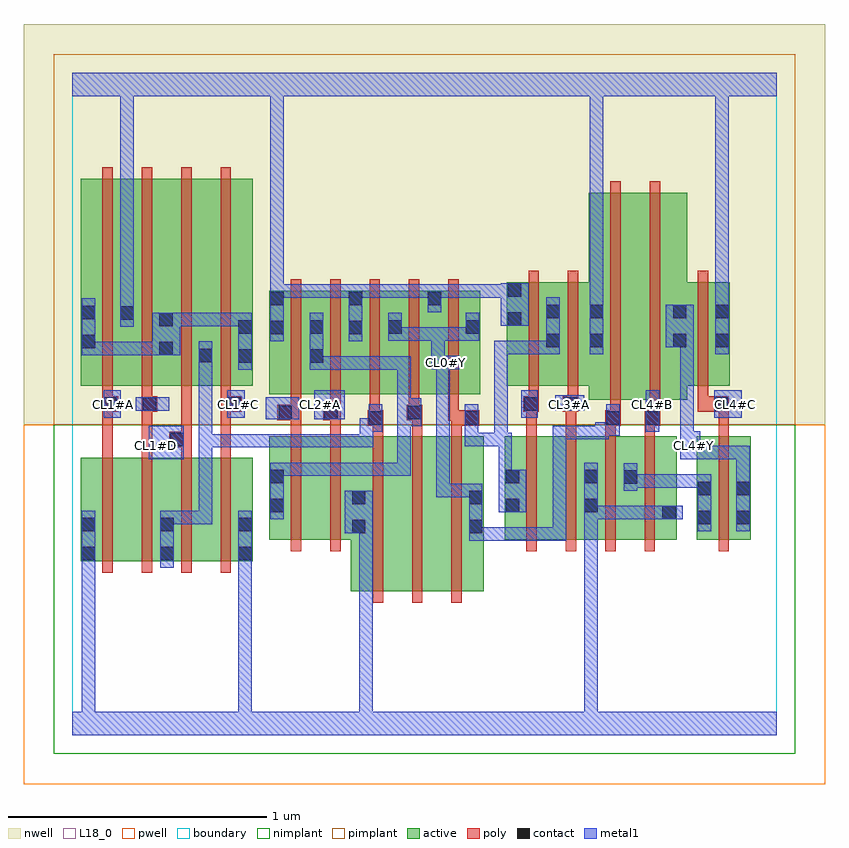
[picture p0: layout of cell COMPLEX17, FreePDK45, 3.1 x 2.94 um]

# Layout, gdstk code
import gdstk
lib = gdstk.Library(unit=1e-6, precision=1e-09)
def R(c, l, rs):  # rectangles x0, y0, x1, y1
    for r in rs: c.add(gdstk.rectangle(r[:2], r[2:], *l))
def A(c, l, x, y, w, h, nx, ny, dx, dy):  # array of equal rectangles
    R(c, l, [(x+i*dx, y+j*dy, x+i*dx+w, y+j*dy+h) for i in range(nx) for j in range(ny)])
active = (1, 0)
pwell = (2, 0)
nwell = (3, 0)
nimplant = (4, 0)
pimplant = (5, 0)
poly = (9, 0)
contact = (10, 0)
metal1 = (11, 0)
L18_0 = (18, 0)
boundary = (235, 0)

complex17 = lib.new_cell('COMPLEX17')
A(complex17, active, 0.76, 1.318, 0.212, 0.4, 4, 1, 0.152, 0)
A(complex17, active, 0.18, 1.35, 0.212, 0.8, 3, 1, 0.152, 0)
R(complex17, active, [(1.076,0.556,1.136,1.156), (1.076,0.556,1.256,1.156), (1.256,0.556,1.408,1.156), (1.408,0.556,1.588,1.156), (1.528,0.556,1.588,1.156), (0.032,0.672,0.092,1.072), (0.032,0.672,0.212,1.072), (0.212,0.672,0.396,1.072), (0.336,0.672,0.396,1.072), (0.336,0.672,0.516,1.072), (0.516,0.672,0.696,1.072), (0.636,0.672,0.696,1.072), (0.76,0.756,0.82,1.156), (0.76,0.756,0.94,1.156), (0.94,0.756,1.136,1.156), (1.67,0.756,1.73,1.156), (1.67,0.756,1.85,1.156), (1.85,0.756,2.034,1.156), (1.974,0.756,2.186,1.156), (1.974,0.756,2.034,1.03), (2.126,0.756,2.334,1.156), (2.126,0.756,2.186,1.028), (2.274,0.756,2.334,1.156), (2.412,0.756,2.472,1.156), (2.412,0.756,2.62,1.156), (2.56,0.756,2.62,1.156), (1.994,1.296,2.174,2.096), (2.174,1.296,2.376,2.096), (0.76,1.318,0.82,1.718), (1.368,1.318,1.576,1.718), (1.516,1.318,1.576,1.644), (0.032,1.35,0.092,2.044), (0.032,1.35,0.24,2.15), (0.484,1.35,0.544,2.044), (0.636,1.35,0.696,2.044), (1.678,1.35,1.738,1.75), (1.678,1.35,1.886,1.75), (1.826,1.35,1.886,1.75), (1.826,1.35,2.054,1.75), (2.316,1.35,2.54,1.75), (2.316,1.35,2.376,1.794), (2.48,1.35,2.54,1.75), (0.332,1.36,0.392,2.044), (1.994,1.388,2.054,1.716), (0.912,1.436,0.972,1.644), (0.18,1.47,0.24,2.15), (1.064,1.498,1.124,1.718), (1.368,1.52,1.428,1.718), (1.216,1.548,1.276,1.644)])
R(complex17, pwell, [(-0.188,-0.188,2.908,1.2)])
R(complex17, nwell, [(-0.188,1.2,2.908,2.748)])
R(complex17, nimplant, [(-0.072,-0.072,2.792,1.2)])
R(complex17, pimplant, [(-0.072,1.2,2.792,2.632)])
A(complex17, poly, 1.16, 0.512, 0.04, 0.688, 3, 1, 0.152, 0)
A(complex17, poly, 0.116, 0.628, 0.04, 0.488, 4, 1, 0.152, 0)
A(complex17, poly, 1.754, 0.712, 0.04, 0.488, 4, 1, 0.152, 0)
A(complex17, poly, 0.844, 1.274, 0.04, 0.488, 5, 1, 0.152, 0)
A(complex17, poly, 0.116, 1.306, 0.04, 0.888, 4, 1, 0.152, 0)
R(complex17, poly, [(0.844,0.712,0.884,1.2), (0.996,0.712,1.036,1.2), (2.496,0.712,2.536,1.2), (0.116,1.076,0.156,1.29), (0.268,1.076,0.308,1.29), (0.42,1.076,0.46,1.152), (0.572,1.076,0.612,1.29), (0.374,1.112,0.46,1.172), (0.42,1.132,0.46,1.172), (0.42,1.132,0.46,1.172), (0.42,1.132,0.46,1.346), (0.844,1.16,0.884,1.258), (0.996,1.16,1.036,1.258), (1.16,1.16,1.2,1.236), (1.312,1.16,1.352,1.258), (1.464,1.16,1.504,1.236), (1.754,1.16,1.794,1.29), (1.906,1.16,1.946,1.29), (2.058,1.16,2.098,1.236), (2.21,1.16,2.25,1.236), (2.496,1.16,2.536,1.29), (1.14,1.196,1.2,1.256), (1.464,1.196,1.572,1.256), (2.058,1.196,2.118,1.256), (2.21,1.196,2.27,1.256), (1.148,1.216,1.188,1.256), (1.148,1.216,1.188,1.256), (1.148,1.216,1.188,1.314), (1.452,1.216,1.492,1.314), (1.452,1.216,1.504,1.256), (1.464,1.216,1.504,1.256), (2.078,1.216,2.118,1.292), (2.078,1.216,2.118,1.256), (2.078,1.216,2.118,1.256), (2.23,1.216,2.27,1.292), (2.23,1.216,2.27,1.256), (2.23,1.216,2.27,1.256), (0.792,1.218,0.884,1.278), (0.844,1.218,0.884,1.258), (0.844,1.218,0.884,1.258), (0.968,1.218,1.036,1.278), (0.996,1.218,1.036,1.258), (0.996,1.218,1.036,1.258), (1.292,1.218,1.352,1.278), (0.844,1.238,0.884,1.314), (0.996,1.238,1.036,1.314), (1.3,1.238,1.34,1.314), (1.3,1.238,1.34,1.278), (1.3,1.238,1.34,1.278), (0.116,1.25,0.156,1.29), (0.116,1.25,0.156,1.29), (0.116,1.25,0.176,1.31), (0.268,1.25,0.308,1.29), (0.268,1.25,0.308,1.29), (0.268,1.25,0.328,1.31), (0.572,1.25,0.612,1.29), (0.572,1.25,0.612,1.29), (0.572,1.25,0.654,1.31), (1.742,1.25,1.802,1.31), (1.754,1.25,1.794,1.29), (1.754,1.25,1.794,1.29), (1.894,1.25,1.954,1.31), (1.906,1.25,1.946,1.29), (1.906,1.25,1.946,1.29), (2.416,1.25,2.536,1.31), (2.496,1.25,2.536,1.29), (2.496,1.25,2.536,1.29), (2.078,1.252,2.118,2.14), (2.23,1.252,2.27,2.14), (0.116,1.27,0.156,1.346), (0.268,1.27,0.308,1.346), (0.572,1.27,0.612,1.346), (1.762,1.27,1.802,1.346), (1.914,1.27,1.954,1.346), (2.416,1.27,2.456,1.346), (1.762,1.306,1.802,1.794), (1.914,1.306,1.954,1.794), (2.416,1.306,2.456,1.794)])
A(complex17, contact, 0.764, 1.662, 0.052, 0.052, 3, 1, 0.304, 0)
R(complex17, contact, [(0.036,0.676,0.088,0.728), (0.34,0.676,0.392,0.728), (0.64,0.676,0.692,0.728), (1.08,0.78,1.132,0.832), (1.532,0.78,1.584,0.832), (0.036,0.788,0.088,0.84), (0.34,0.788,0.392,0.84), (0.64,0.788,0.692,0.84), (2.416,0.816,2.468,0.868), (2.564,0.816,2.616,0.868), (2.278,0.834,2.33,0.886), (0.764,0.862,0.816,0.914), (1.674,0.862,1.726,0.914), (1.978,0.862,2.03,0.914), (1.08,0.892,1.132,0.944), (1.532,0.892,1.584,0.944), (2.416,0.928,2.468,0.98), (2.564,0.928,2.616,0.98), (2.13,0.972,2.182,1.024), (0.764,0.974,0.816,1.026), (1.674,0.974,1.726,1.026), (1.978,0.974,2.03,1.026), (0.378,1.116,0.43,1.168), (1.144,1.2,1.196,1.252), (1.516,1.2,1.568,1.252), (2.062,1.2,2.114,1.252), (2.214,1.2,2.266,1.252), (0.796,1.222,0.848,1.274), (0.972,1.222,1.024,1.274), (1.296,1.222,1.348,1.274), (0.12,1.254,0.172,1.306), (0.272,1.254,0.324,1.306), (0.598,1.254,0.65,1.306), (1.746,1.254,1.798,1.306), (1.898,1.254,1.95,1.306), (2.48,1.254,2.532,1.306), (0.64,1.44,0.692,1.492), (0.916,1.44,0.968,1.492), (0.488,1.442,0.54,1.494), (0.336,1.468,0.388,1.52), (0.036,1.496,0.088,1.548), (1.83,1.5,1.882,1.552), (1.998,1.5,2.05,1.552), (2.32,1.5,2.372,1.552), (2.484,1.5,2.536,1.552), (0.764,1.55,0.816,1.602), (1.068,1.55,1.12,1.602), (0.64,1.552,0.692,1.604), (0.916,1.552,0.968,1.604), (1.22,1.552,1.272,1.604), (1.52,1.552,1.572,1.604), (0.336,1.58,0.388,1.632), (1.682,1.582,1.734,1.634), (0.184,1.606,0.236,1.658), (0.036,1.608,0.088,1.66), (1.83,1.612,1.882,1.664), (1.998,1.612,2.05,1.664), (2.32,1.612,2.372,1.664), (2.484,1.612,2.536,1.664), (1.682,1.694,1.734,1.746)])
R(complex17, metal1, [(0,0,2.72,0.092), (0.036,0.04,0.088,0.092), (0.036,0.04,0.088,0.092), (0.036,0.04,0.088,0.092), (0.036,0.04,0.088,0.092), (0.036,0.04,0.088,0.092), (0.036,0.04,0.088,0.092), (0.036,0.04,0.088,0.092), (0.036,0.04,0.088,0.092), (0.036,0.04,0.088,0.092), (0.036,0.04,0.088,0.092), (0.036,0.04,0.088,0.092), (0.036,0.04,0.088,0.092), (0.036,0.04,0.088,0.7), (0.64,0.04,0.692,0.092), (0.64,0.04,0.692,0.092), (0.64,0.04,0.692,0.092), (0.64,0.04,0.692,0.092), (0.64,0.04,0.692,0.092), (0.64,0.04,0.692,0.092), (0.64,0.04,0.692,0.092), (0.64,0.04,0.692,0.092), (0.64,0.04,0.692,0.092), (0.64,0.04,0.692,0.092), (0.64,0.04,0.692,0.7), (1.108,0.04,1.16,0.092), (1.108,0.04,1.16,0.092), (1.108,0.04,1.16,0.832), (1.978,0.04,2.03,0.092), (1.978,0.04,2.03,0.092), (1.978,0.04,2.03,0.886), (0.036,0.648,0.088,0.868), (0.34,0.648,0.392,0.868), (0.64,0.648,0.692,0.7), (0.64,0.648,0.692,0.7), (0.64,0.648,0.692,0.868), (1.532,0.752,1.584,0.804), (1.532,0.752,1.584,0.804), (1.532,0.752,1.584,0.972), (1.532,0.752,1.772,0.804), (1.72,0.752,1.772,0.804), (1.72,0.752,1.772,0.804), (1.72,0.752,1.772,0.804), (1.72,0.752,1.908,0.804), (1.856,0.752,1.908,0.804), (1.856,0.752,1.908,1.196), (1.052,0.78,1.16,0.944), (1.108,0.78,1.16,0.832), (1.108,0.78,1.16,0.832), (1.108,0.78,1.16,0.832), (1.108,0.78,1.16,0.832), (1.108,0.78,1.16,0.832), (1.108,0.78,1.16,0.832), (2.416,0.788,2.468,1.008), (2.564,0.788,2.616,1.008), (0.34,0.816,0.392,0.868), (0.34,0.816,0.392,0.868), (0.34,0.816,0.54,0.868), (0.488,0.816,0.54,0.868), (0.488,0.816,0.54,1.164), (0.764,0.834,0.816,1.054), (1.978,0.834,2.03,0.886), (1.978,0.834,2.03,0.886), (1.978,0.834,2.03,0.886), (1.978,0.834,2.03,0.886), (1.978,0.834,2.03,0.886), (1.978,0.834,2.03,0.886), (1.978,0.834,2.03,0.886), (1.978,0.834,2.03,0.886), (1.978,0.834,2.03,0.886), (1.978,0.834,2.03,0.886), (1.978,0.834,2.03,0.886), (1.978,0.834,2.03,0.886), (1.978,0.834,2.03,1.054), (1.978,0.834,2.192,0.886), (2.14,0.834,2.192,0.886), (2.14,0.834,2.192,0.886), (2.14,0.834,2.192,0.886), (2.14,0.834,2.302,0.886), (2.25,0.834,2.358,0.886), (1.646,0.862,1.754,1.026), (1.406,0.92,1.458,0.972), (1.406,0.92,1.458,0.972), (1.406,0.92,1.458,0.972), (1.406,0.92,1.572,0.972), (1.406,0.92,1.458,1.466), (1.52,0.92,1.572,0.972), (1.52,0.92,1.584,0.972), (2.13,0.944,2.182,1.052), (2.13,0.956,2.182,1.008), (2.13,0.956,2.182,1.008), (2.13,0.956,2.422,1.008), (2.37,0.956,2.422,1.008), (2.37,0.956,2.468,1.008), (2.564,0.956,2.616,1.118), (1.646,0.974,1.698,1.168), (0.764,1.002,0.816,1.054), (0.764,1.002,0.816,1.054), (0.764,1.002,0.926,1.054), (0.874,1.002,0.926,1.054), (0.874,1.002,0.926,1.054), (0.874,1.002,0.926,1.054), (0.874,1.002,1.162,1.054), (1.11,1.002,1.162,1.054), (1.11,1.002,1.162,1.054), (1.11,1.002,1.162,1.054), (1.11,1.002,1.306,1.054), (1.254,1.002,1.306,1.054), (1.254,1.002,1.306,1.246), (0.294,1.066,0.43,1.196), (2.348,1.066,2.426,1.174), (2.374,1.066,2.616,1.118), (2.564,1.066,2.616,1.118), (2.564,1.066,2.616,1.118), (2.564,1.066,2.616,1.118), (0.488,1.112,0.54,1.164), (0.488,1.112,0.54,1.164), (0.488,1.112,0.54,1.164), (0.488,1.112,0.688,1.164), (0.488,1.112,0.54,1.466), (0.636,1.112,0.688,1.164), (0.636,1.112,0.816,1.164), (0.764,1.112,0.816,1.164), (0.764,1.112,0.816,1.164), (0.764,1.112,0.816,1.164), (0.764,1.112,0.926,1.164), (0.874,1.112,0.926,1.164), (0.874,1.112,0.926,1.164), (0.874,1.112,0.926,1.164), (0.874,1.112,1.162,1.164), (1.11,1.112,1.162,1.224), (1.516,1.116,1.568,1.224), (1.516,1.116,1.682,1.168), (1.63,1.116,1.682,1.168), (1.63,1.116,1.682,1.168), (1.63,1.116,1.682,1.524), (1.63,1.116,1.698,1.168), (2.348,1.122,2.4,1.552), (1.856,1.144,1.908,1.196), (1.856,1.144,1.908,1.196), (1.856,1.144,1.908,1.196), (1.856,1.144,1.908,1.196), (1.856,1.144,1.908,1.196), (1.856,1.144,2.072,1.196), (2.02,1.144,2.072,1.21), (2.02,1.158,2.114,1.21), (2.062,1.158,2.114,1.28), (1.11,1.172,1.196,1.224), (1.144,1.172,1.196,1.28), (1.516,1.172,1.568,1.224), (1.516,1.172,1.568,1.28), (2.214,1.172,2.266,1.334), (1.254,1.194,1.306,1.246), (1.254,1.194,1.348,1.246), (1.254,1.194,1.306,1.464), (1.296,1.194,1.348,1.302), (0.746,1.222,0.876,1.306), (0.934,1.222,1.052,1.334), (0.12,1.226,0.186,1.334), (0.598,1.226,0.666,1.334), (1.734,1.226,1.798,1.334), (2.48,1.226,2.586,1.334), (0.244,1.254,0.374,1.306), (1.866,1.254,1.978,1.314), (0.64,1.412,0.692,1.632), (0.916,1.412,0.968,1.464), (0.916,1.412,0.968,1.464), (0.916,1.412,0.968,1.632), (0.916,1.412,1.162,1.464), (1.11,1.412,1.162,1.464), (1.11,1.412,1.162,1.464), (1.11,1.412,1.162,1.464), (1.11,1.412,1.162,1.464), (1.11,1.412,1.162,1.464), (1.11,1.412,1.306,1.464), (1.254,1.412,1.306,1.464), (0.488,1.414,0.54,1.466), (0.488,1.414,0.54,1.466), (0.488,1.414,0.54,1.522), (1.386,1.414,1.438,1.576), (1.386,1.414,1.494,1.466), (0.036,1.468,0.088,1.52), (0.036,1.468,0.088,1.52), (0.036,1.468,0.088,1.688), (0.036,1.468,0.208,1.52), (0.156,1.468,0.208,1.52), (0.156,1.468,0.208,1.52), (0.156,1.468,0.208,1.52), (0.156,1.468,0.36,1.52), (0.308,1.468,0.416,1.632), (1.63,1.472,1.682,1.524), (1.63,1.472,1.694,1.524), (1.642,1.472,1.694,1.524), (1.642,1.472,1.882,1.524), (1.83,1.472,1.882,1.692), (1.998,1.472,2.05,1.692), (2.484,1.472,2.536,1.692), (2.292,1.5,2.4,1.664), (2.348,1.5,2.4,1.552), (2.348,1.5,2.4,1.552), (0.764,1.522,0.816,1.742), (1.068,1.522,1.12,1.742), (1.22,1.524,1.272,1.632), (1.22,1.524,1.438,1.576), (1.386,1.524,1.438,1.576), (1.386,1.524,1.438,1.576), (1.386,1.524,1.438,1.576), (1.386,1.524,1.572,1.576), (1.52,1.524,1.572,1.576), (1.52,1.524,1.572,1.576), (1.52,1.524,1.572,1.632), (0.184,1.578,0.236,1.686), (0.364,1.58,0.416,1.632), (0.364,1.58,0.416,1.632), (0.364,1.58,0.416,1.632), (0.364,1.58,0.416,1.632), (0.364,1.58,0.578,1.632), (0.526,1.58,0.578,1.632), (0.526,1.58,0.578,1.632), (0.526,1.58,0.578,1.632), (0.526,1.58,0.692,1.632), (1.654,1.582,1.762,1.746), (0.184,1.634,0.236,1.686), (0.184,1.634,0.236,1.686), (0.184,1.634,0.236,1.686), (0.184,1.634,0.236,1.686), (0.184,1.634,0.236,1.686), (0.184,1.634,0.236,1.686), (0.184,1.634,0.236,2.52), (1.372,1.634,1.424,1.742), (1.998,1.64,2.05,2.52), (2.484,1.64,2.536,1.692), (2.484,1.64,2.536,1.692), (2.484,1.64,2.536,1.692), (2.484,1.64,2.536,1.692), (2.484,1.64,2.536,1.692), (2.484,1.64,2.536,1.692), (2.484,1.64,2.536,1.692), (2.484,1.64,2.536,1.692), (2.484,1.64,2.536,1.692), (2.484,1.64,2.536,1.692), (2.484,1.64,2.536,1.692), (2.484,1.64,2.536,1.692), (2.484,1.64,2.536,1.692), (2.484,1.64,2.536,1.692), (2.484,1.64,2.536,1.692), (2.484,1.64,2.536,1.692), (2.484,1.64,2.536,2.52), (0.764,1.69,0.816,1.742), (0.764,1.69,0.816,1.742), (0.764,1.69,0.816,1.742), (0.764,1.69,0.816,1.742), (0.764,1.69,0.816,1.742), (0.764,1.69,0.816,1.742), (0.764,1.69,0.816,1.742), (0.764,1.69,0.816,1.742), (0.764,1.69,0.816,1.742), (0.764,1.69,0.816,1.742), (0.764,1.69,0.994,1.742), (0.764,1.69,0.816,2.52), (0.942,1.69,0.994,1.742), (0.942,1.69,0.994,1.742), (0.942,1.69,0.994,1.742), (0.942,1.69,1.12,1.742), (1.068,1.69,1.162,1.742), (1.11,1.69,1.162,1.742), (1.11,1.69,1.314,1.742), (1.262,1.69,1.314,1.742), (1.262,1.69,1.314,1.742), (1.262,1.69,1.314,1.742), (1.262,1.69,1.424,1.742), (1.372,1.69,1.572,1.742), (1.52,1.69,1.572,1.742), (1.52,1.69,1.572,1.742), (1.52,1.69,1.572,1.742), (1.52,1.69,1.706,1.742), (0,2.468,2.72,2.56), (0.184,2.468,0.236,2.52), (0.184,2.468,0.236,2.52), (0.764,2.468,0.816,2.52), (0.764,2.468,0.816,2.52), (0.764,2.468,0.816,2.52), (0.764,2.468,0.816,2.52), (0.764,2.468,0.816,2.52), (0.764,2.468,0.816,2.52), (0.764,2.468,0.816,2.52), (0.764,2.468,0.816,2.52), (1.998,2.468,2.05,2.52), (1.998,2.468,2.05,2.52), (1.998,2.468,2.05,2.52), (1.998,2.468,2.05,2.52), (1.998,2.468,2.05,2.52), (1.998,2.468,2.05,2.52), (1.998,2.468,2.05,2.52), (1.998,2.468,2.05,2.52)])
A(complex17, L18_0, 0.614, 1.254, 0.052, 0.052, 3, 1, 0.16, 0)
A(complex17, L18_0, 1.894, 1.254, 0.052, 0.052, 3, 1, 0.32, 0)
R(complex17, L18_0, [(0,0,2.72,0.092), (0.036,0.04,0.088,0.092), (0.036,0.04,0.088,0.092), (0.036,0.04,0.088,0.092), (0.036,0.04,0.088,0.092), (0.036,0.04,0.088,0.092), (0.036,0.04,0.088,0.092), (0.036,0.04,0.088,0.092), (0.036,0.04,0.088,0.092), (0.036,0.04,0.088,0.092), (0.036,0.04,0.088,0.092), (0.036,0.04,0.088,0.092), (0.036,0.04,0.088,0.092), (0.036,0.04,0.088,0.7), (0.64,0.04,0.692,0.092), (0.64,0.04,0.692,0.092), (0.64,0.04,0.692,0.092), (0.64,0.04,0.692,0.092), (0.64,0.04,0.692,0.092), (0.64,0.04,0.692,0.092), (0.64,0.04,0.692,0.092), (0.64,0.04,0.692,0.092), (0.64,0.04,0.692,0.092), (0.64,0.04,0.692,0.092), (0.64,0.04,0.692,0.7), (1.108,0.04,1.16,0.092), (1.108,0.04,1.16,0.092), (1.108,0.04,1.16,0.832), (1.978,0.04,2.03,0.092), (1.978,0.04,2.03,0.092), (1.978,0.04,2.03,0.886), (0.036,0.648,0.088,0.868), (0.64,0.648,0.692,0.7), (0.64,0.648,0.692,0.7), (0.64,0.648,0.692,0.868), (1.532,0.752,1.584,0.804), (1.532,0.752,1.584,0.804), (1.532,0.752,1.584,0.972), (1.532,0.752,1.772,0.804), (1.72,0.752,1.772,0.804), (1.72,0.752,1.772,0.804), (1.72,0.752,1.772,0.804), (1.72,0.752,1.908,0.804), (1.856,0.752,1.908,0.804), (1.856,0.752,1.908,1.196), (1.052,0.78,1.16,0.944), (1.108,0.78,1.16,0.832), (1.108,0.78,1.16,0.832), (1.108,0.78,1.16,0.832), (1.108,0.78,1.16,0.832), (1.108,0.78,1.16,0.832), (1.108,0.78,1.16,0.832), (2.564,0.788,2.616,1.008), (1.978,0.834,2.03,0.886), (1.978,0.834,2.03,0.886), (1.978,0.834,2.03,0.886), (1.978,0.834,2.03,0.886), (1.978,0.834,2.03,0.886), (1.978,0.834,2.03,0.886), (1.978,0.834,2.03,0.886), (1.978,0.834,2.03,0.886), (1.978,0.834,2.03,0.886), (1.978,0.834,2.03,0.886), (1.978,0.834,2.03,0.886), (1.978,0.834,2.03,0.886), (1.978,0.834,2.03,1.054), (1.978,0.834,2.192,0.886), (2.14,0.834,2.192,0.886), (2.14,0.834,2.192,0.886), (2.14,0.834,2.192,0.886), (2.14,0.834,2.302,0.886), (2.25,0.834,2.358,0.886), (1.406,0.92,1.458,0.972), (1.406,0.92,1.458,0.972), (1.406,0.92,1.458,0.972), (1.406,0.92,1.458,1.466), (1.406,0.92,1.572,0.972), (1.52,0.92,1.572,0.972), (1.52,0.92,1.584,0.972), (2.564,0.956,2.616,1.118), (0.294,1.066,0.43,1.196), (2.348,1.066,2.426,1.174), (2.374,1.066,2.616,1.118), (2.564,1.066,2.616,1.118), (2.564,1.066,2.616,1.118), (2.564,1.066,2.616,1.118), (0.294,1.094,0.346,1.146), (2.374,1.094,2.426,1.146), (2.348,1.122,2.4,1.552), (1.856,1.144,1.908,1.196), (1.856,1.144,1.908,1.196), (1.856,1.144,1.908,1.196), (1.856,1.144,1.908,1.196), (1.856,1.144,1.908,1.196), (1.856,1.144,2.072,1.196), (2.02,1.144,2.072,1.21), (2.02,1.158,2.114,1.21), (2.062,1.158,2.114,1.28), (2.214,1.172,2.266,1.334), (0.746,1.222,0.876,1.306), (0.934,1.222,1.052,1.334), (0.12,1.226,0.186,1.334), (0.598,1.226,0.666,1.334), (1.734,1.226,1.798,1.334), (2.48,1.226,2.586,1.334), (0.134,1.254,0.186,1.306), (0.244,1.254,0.374,1.306), (0.294,1.254,0.346,1.306), (1.734,1.254,1.786,1.306), (1.866,1.254,1.978,1.314), (1.386,1.414,1.494,1.466), (1.386,1.414,1.438,1.576), (1.414,1.414,1.466,1.466), (1.998,1.472,2.05,1.692), (2.484,1.472,2.536,1.692), (2.292,1.5,2.4,1.664), (2.348,1.5,2.4,1.552), (2.348,1.5,2.4,1.552), (0.764,1.522,0.816,1.742), (1.068,1.522,1.12,1.742), (1.22,1.524,1.272,1.632), (1.22,1.524,1.438,1.576), (1.386,1.524,1.438,1.576), (1.386,1.524,1.438,1.576), (1.386,1.524,1.438,1.576), (1.386,1.524,1.572,1.576), (1.52,1.524,1.572,1.576), (1.52,1.524,1.572,1.576), (1.52,1.524,1.572,1.632), (0.184,1.578,0.236,1.686), (1.654,1.582,1.762,1.746), (0.184,1.634,0.236,1.686), (0.184,1.634,0.236,1.686), (0.184,1.634,0.236,1.686), (0.184,1.634,0.236,1.686), (0.184,1.634,0.236,1.686), (0.184,1.634,0.236,1.686), (0.184,1.634,0.236,2.52), (1.372,1.634,1.424,1.742), (1.998,1.64,2.05,2.52), (2.484,1.64,2.536,1.692), (2.484,1.64,2.536,1.692), (2.484,1.64,2.536,1.692), (2.484,1.64,2.536,1.692), (2.484,1.64,2.536,1.692), (2.484,1.64,2.536,1.692), (2.484,1.64,2.536,1.692), (2.484,1.64,2.536,1.692), (2.484,1.64,2.536,1.692), (2.484,1.64,2.536,1.692), (2.484,1.64,2.536,1.692), (2.484,1.64,2.536,1.692), (2.484,1.64,2.536,1.692), (2.484,1.64,2.536,1.692), (2.484,1.64,2.536,1.692), (2.484,1.64,2.536,1.692), (2.484,1.64,2.536,2.52), (0.764,1.69,0.816,1.742), (0.764,1.69,0.816,1.742), (0.764,1.69,0.816,1.742), (0.764,1.69,0.816,1.742), (0.764,1.69,0.816,1.742), (0.764,1.69,0.816,1.742), (0.764,1.69,0.816,1.742), (0.764,1.69,0.816,1.742), (0.764,1.69,0.816,1.742), (0.764,1.69,0.816,1.742), (0.764,1.69,0.816,2.52), (0.764,1.69,0.994,1.742), (0.942,1.69,0.994,1.742), (0.942,1.69,0.994,1.742), (0.942,1.69,0.994,1.742), (0.942,1.69,1.12,1.742), (1.068,1.69,1.162,1.742), (1.11,1.69,1.162,1.742), (1.11,1.69,1.314,1.742), (1.262,1.69,1.314,1.742), (1.262,1.69,1.314,1.742), (1.262,1.69,1.314,1.742), (1.262,1.69,1.424,1.742), (1.372,1.69,1.572,1.742), (1.52,1.69,1.572,1.742), (1.52,1.69,1.572,1.742), (1.52,1.69,1.572,1.742), (1.52,1.69,1.706,1.742), (0,2.468,2.72,2.56), (0.184,2.468,0.236,2.52), (0.184,2.468,0.236,2.52), (0.764,2.468,0.816,2.52), (0.764,2.468,0.816,2.52), (0.764,2.468,0.816,2.52), (0.764,2.468,0.816,2.52), (0.764,2.468,0.816,2.52), (0.764,2.468,0.816,2.52), (0.764,2.468,0.816,2.52), (0.764,2.468,0.816,2.52), (1.998,2.468,2.05,2.52), (1.998,2.468,2.05,2.52), (1.998,2.468,2.05,2.52), (1.998,2.468,2.05,2.52), (1.998,2.468,2.05,2.52), (1.998,2.468,2.05,2.52), (1.998,2.468,2.05,2.52), (1.998,2.468,2.05,2.52)])
R(complex17, boundary, [(0,0,2.72,2.56)])
complex17.add(gdstk.Label('CL0#Y', (1.44,1.44), layer=11, texttype=0))
complex17.add(gdstk.Label('CL1#A', (0.16,1.28), layer=11, texttype=0))
complex17.add(gdstk.Label('CL1#B', (0.32,1.28), layer=11, texttype=0))
complex17.add(gdstk.Label('CL1#C', (0.64,1.28), layer=11, texttype=0))
complex17.add(gdstk.Label('CL1#D', (0.32,1.12), layer=11, texttype=0))
complex17.add(gdstk.Label('CL2#A', (0.96,1.28), layer=11, texttype=0))
complex17.add(gdstk.Label('CL2#B', (0.8,1.28), layer=11, texttype=0))
complex17.add(gdstk.Label('CL3#A', (1.92,1.28), layer=11, texttype=0))
complex17.add(gdstk.Label('CL3#B', (1.76,1.28), layer=11, texttype=0))
complex17.add(gdstk.Label('CL4#B', (2.24,1.28), layer=11, texttype=0))
complex17.add(gdstk.Label('CL4#C', (2.56,1.28), layer=11, texttype=0))
complex17.add(gdstk.Label('CL4#Y', (2.4,1.12), layer=11, texttype=0))

lib.write_gds('COMPLEX17.gds')
